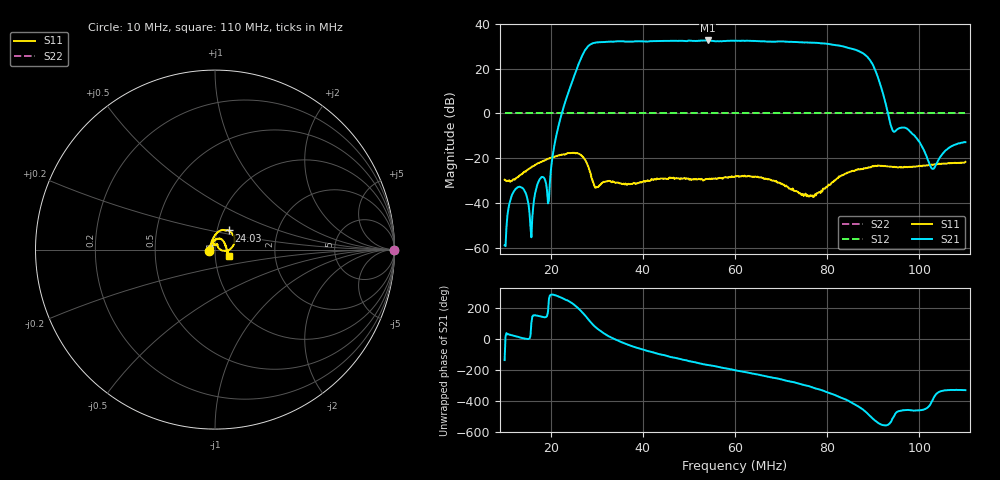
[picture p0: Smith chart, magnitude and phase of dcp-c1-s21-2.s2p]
! Anritsu VNA Master:  Model: MS2034B/10/19/501
! SN:  1337062
! /bd0/ovro-jan-2016/dcp-c1-s21-2.s2p
! Existing Calibration Information:
! TYPE:  Current Settings,  Active Cal Settings
! TIME:  01/11/2016 05:02:17 PM,  01/11/2016 04:43:35 PM
! INTERNAL TEMP:  43.8 C,  44.8 C
! # POINTS:  500,  500
! START FREQ:  10.000 MHz,  10.000 MHz
! STOP FREQ:  110.000 MHz,  110.000 MHz
! SOURCE POWER:  Low,  Low
! IFBW:  100 Hz,  100 Hz
! AVG FACTOR:  3 ,  3
! REF PLANE 1:  2.2245 m,  2.2245 m
! REF PLANE 2:  0 mm,  0 mm
! CAL TYPE:  1P2P S11,S21,  1P2P S11,S21
! CAL METHOD:  SOLT,  SOLT
! CAL LINE TYPE:  Coax,  Coax
! DUT PORT 1:  K-Conn(M),  K-Conn(M)
! DUT PORT 2:  N-Conn(M),  N-Conn(M)
! CAL STATUS:  OK: Accuracy High,  --
# GHZ S DB R 50.0
! FREQ.GHZ  S11DB  S11A  S21DB  S21A  S12DB  S12A  S22DB  S22A
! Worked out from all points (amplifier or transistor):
!   500 points, 10 MHz to 110 MHz, reference 50 ohm
!   highest |S21| = 32.7 dB at 54.09 MHz (marker M1)
!   |S21| within 3 dB of that: 27.94 MHz to 84.05 MHz (56.1 MHz wide, 100 % of centre)
!   unconditionally stable (mu >= 1): nowhere
!   at 26.63 MHz: K = 8.91, MSG = 12.5 dB, |S12| = 0.0 dB
!   at 60.1 MHz: K = 21.18, MSG = 16.3 dB, |S12| = 0.0 dB
!   at 110 MHz: K = 0.06, MSG = -6.4 dB, |S12| = 0.0 dB
!   S11 on the Smith chart (normalised r, x): 10 MHz: 0.94, -0.01; 24.03 MHz: 1.13, +0.25; 110 MHz: 1.16, -0.08
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0.01  -29.60 -171.0  -58.96 -137.8  0.00 0.0  0.00 0.0
0.02402806  -17.69 54.7  10.55 -120.1  0.00 0.0  0.00 0.0
0.02583166  -17.82 33.5  20.82 -160.0  0.00 0.0  0.00 0.0
0.02683367  -19.15 16.1  25.83 170.1  0.00 0.0  0.00 0.0
0.02803607  -23.16 -6.0  29.90 129.2  0.00 0.0  0.00 0.0
0.02943888  -32.15 10.6  31.59 82.2  0.00 0.0  0.00 0.0
0.03124249  -30.95 60.8  31.93 40.6  0.00 0.0  0.00 0.0
0.03344689  -30.34 68.7  32.11 3.1  0.00 0.0  0.00 0.0
0.03825651  -31.25 95.1  32.27 -54.2  0.00 0.0  0.00 0.0
0.04346693  -29.27 102.7  32.39 -99.3  0.00 0.0  0.00 0.0
0.04847695  -29.07 112.3  32.53 -134.3  0.00 0.0  0.00 0.0
0.05408818  -29.33 140.2  32.67 -169.0  0.00 0.0  0.00 0.0
0.0601002  -27.95 170.9  32.55 157.0  0.00 0.0  0.00 0.0
0.07012024  -31.37 -168.1  32.27 97.9  0.00 0.0  0.00 0.0
0.07673347  -36.67 163.5  31.67 47.3  0.00 0.0  0.00 0.0
0.08174349  -29.90 118.3  30.55 -3.1  0.00 0.0  0.00 0.0
0.0859519  -25.62 92.4  28.61 -62.1  0.00 0.0  0.00 0.0
0.08775551  -24.84 82.5  26.96 -95.3  0.00 0.0  0.00 0.0
0.08935872  -24.06 74.5  23.70 -138.8  0.00 0.0  0.00 0.0
0.09096192  -23.31 60.1  16.50 -179.9  0.00 0.0  0.00 0.0
0.09336673  -23.75 38.3  -1.51 169.6  0.00 0.0  0.00 0.0
0.11  -21.64 -24.2  -12.82 28.9  0.00 0.0  0.00 0.0
